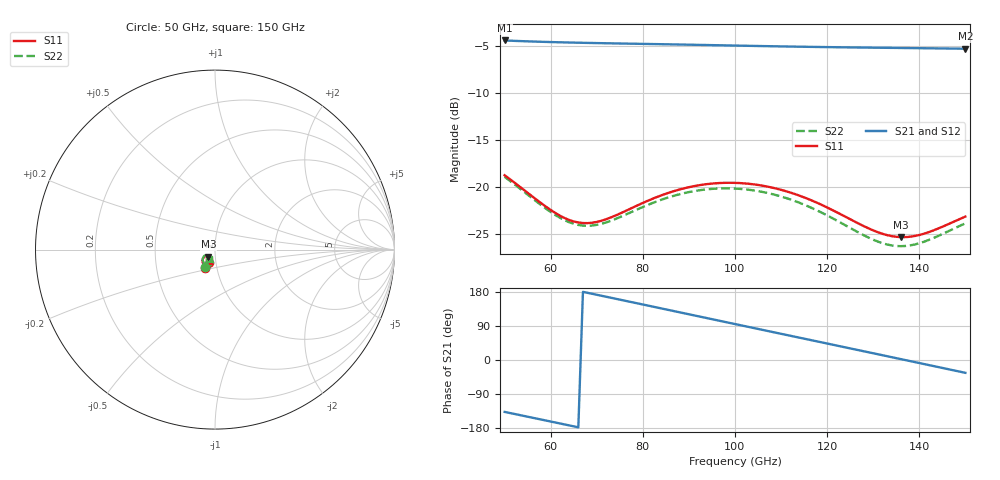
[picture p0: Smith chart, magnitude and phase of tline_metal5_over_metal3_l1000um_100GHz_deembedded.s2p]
! Created with skrf 2.0.1 (http://scikit-rf.org).
# GHz S DB R 50.0
!freq dBS11 angS11 dBS21 angS21 dBS12 angS12 dBS22 angS22
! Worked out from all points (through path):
!   101 points, 50 GHz to 150 GHz, reference 50 ohm
!   highest |S21| = -4.39 dB at 50 GHz (marker M1); lowest = -5.3 dB at 150 GHz (marker M2)
!   group delay of S21, straight-line fit = 7.14 ps
!   lowest |S11| = -25.3 dB at 136 GHz (marker M3), VSWR 1.11, Z = 46.3 - j3.74 ohm
!   |S11| at or under -10 dB: start of sweep to end of sweep
!   |S22| runs from -26.3 to -18.9 dB; largest |S21 - S12| = 6.3e-14
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50  -18.72 -120.3  -4.39 -137.0  -4.39 -137.0  -18.90 -120.8
55  -20.59 -123.3  -4.48 -149.7  -4.48 -149.7  -20.79 -124.1
59  -22.08 -122.1  -4.55 -159.8  -4.55 -159.8  -22.29 -123.2
63  -23.27 -117.1  -4.60 -170.0  -4.60 -170.0  -23.50 -118.5
67  -23.81 -109.4  -4.64 179.8  -4.64 179.8  -24.08 -111.2
71  -23.57 -102.3  -4.68 169.6  -4.68 169.6  -23.89 -104.4
75  -22.81 -98.2  -4.71 159.3  -4.71 159.3  -23.18 -100.5
79  -21.89 -97.5  -4.75 149.0  -4.75 149.0  -22.32 -100.0
84  -20.86 -100.4  -4.79 136.1  -4.79 136.1  -21.34 -103.0
92  -19.80 -109.8  -4.86 115.5  -4.86 115.5  -20.34 -112.8
96  -19.57 -115.5  -4.90 105.2  -4.90 105.2  -20.14 -118.7
100  -19.53 -121.5  -4.93 94.9  -4.93 94.9  -20.14 -124.9
108  -20.03 -133.0  -5.00 74.3  -5.00 74.3  -20.72 -136.8
112  -20.56 -138.0  -5.04 64.0  -5.04 64.0  -21.30 -142.1
117  -21.48 -142.9  -5.08 51.2  -5.08 51.2  -22.28 -147.2
126  -23.66 -144.9  -5.13 28.1  -5.13 28.1  -24.60 -149.1
131  -24.78 -140.4  -5.16 15.2  -5.16 15.2  -25.78 -144.1
134  -25.20 -135.7  -5.18 7.5  -5.18 7.5  -26.19 -139.1
136  -25.31 -132.2  -5.19 2.3  -5.19 2.3  -26.27 -135.3
139  -25.19 -127.0  -5.21 -5.4  -5.21 -5.4  -26.09 -129.9
143  -24.61 -121.6  -5.23 -15.8  -5.23 -15.8  -25.42 -124.6
150  -23.12 -118.5  -5.27 -33.9  -5.27 -33.9  -23.84 -122.4
